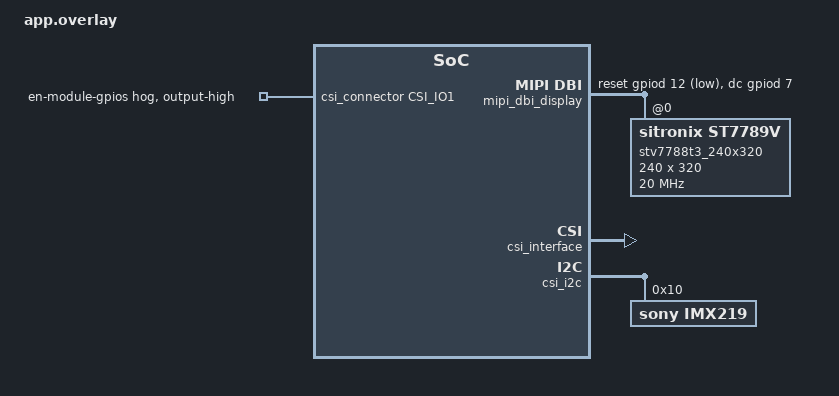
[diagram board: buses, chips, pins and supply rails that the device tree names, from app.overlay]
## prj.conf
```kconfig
CONFIG_VIDEO=y
CONFIG_SHELL=y
CONFIG_PRINTK=y
CONFIG_LOG=y
CONFIG_DISPLAY=y
CONFIG_REQUIRES_FLOAT_PRINTF=y
CONFIG_LOG_MODE_DEFERRED=y

# RAM stuff for the n6
CONFIG_VIDEO_BUFFER_POOL_NUM_MAX=1
CONFIG_VIDEO_BUFFER_POOL_HEAP_SIZE=40000
CONFIG_VIDEO_FRAME_WIDTH=120
CONFIG_VIDEO_FRAME_HEIGHT=160
CONFIG_VIDEO_PIXEL_FORMAT="RGBP"
CONFIG_MAIN_STACK_SIZE=2048
CONFIG_VIDEO_STM32_DCMIPP_SENSOR_PIXEL_FORMAT="pBAA"
CONFIG_VIDEO_STM32_DCMIPP_SENSOR_WIDTH=3280
CONFIG_VIDEO_STM32_DCMIPP_SENSOR_HEIGHT=2464
CONFIG_VIDEO_LOG_LEVEL_WRN=y
```

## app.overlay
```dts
/*
 * Copyright (c) 2025 tinyVision.ai Inc.
 *
 * SPDX-License-Identifier: Apache-2.0
 */


#include <zephyr/dt-bindings/gpio/raspberrypi-csi-connector.h>
#include <zephyr/dt-bindings/video/video-interfaces.h>
#include <zephyr/dt-bindings/mipi_dbi/mipi_dbi.h>


/ {
	chosen {
		zephyr,camera = &pipe_main;
		zephyr,display = &stv7788t3_240x320;

	};

	mipi_dbi_display {
		compatible = "zephyr,mipi-dbi-spi";
		spi-dev = <&spi5>;
		dc-gpios = <&gpiod 7 GPIO_ACTIVE_HIGH>;
		reset-gpios = <&gpiod 12 GPIO_ACTIVE_LOW>;
		write-only;
		#address-cells = <1>;
		#size-cells = <0>;

		stv7788t3_240x320: st7789t3@0 {
			compatible = "sitronix,st7789v";
			mipi-max-frequency = <20000000>;
			reg = <0>;
			width = <240>;
			height = <320>;
			x-offset = <0>;
			y-offset = <0>;
			vcom = <0x19>;
			gctrl = <0x35>;
			vrhs = <0x12>;
			vdvs = <0x20>;
			mdac = <0x00>;
			gamma = <0x01>;
			colmod = <0x05>;
			lcm = <0x2c>;
			porch-param = [0c 0c 00 33 33];
			cmd2en-param = [5a 69 02 01];
			pwctrl1-param = [a4 a1];
			pvgam-param = [D0 04 0D 11 13 2B 3F 54 4C 18 0D 0B 1F 23];
			nvgam-param = [D0 04 0C 11 13 2C 3F 44 51 2F 1F 1F 20 23];
			ram-param = [00 F0];
			rgb-param = [CD 08 14];
			mipi-mode = "MIPI_DBI_MODE_SPI_4WIRE";
		};
	};


	imx219_input_clock: imx219-input-clock {
		compatible = "fixed-clock";
		clock-frequency = <24000000>;
		#clock-cells = <0>;
	};
};



&csi_interface {
	status = "okay";
};

&csi_ep_in {
	remote-endpoint-label = "imx219_ep_out";
	bus-type = <VIDEO_BUS_TYPE_CSI2_DPHY>;
	data-lanes = <1 2>;
};


&csi_i2c {
	imx219: camera@10 {
		compatible = "sony,imx219";
		clocks =  <&imx219_input_clock>;
		reg = <0x10>;


		port {
			imx219_ep_out: endpoint {
				remote-endpoint-label = "csi_ep_in";
				bus-type = <VIDEO_BUS_TYPE_CSI2_DPHY>;
				data-lanes = <1 2>;
			};
		};
	};
};

&csi_connector {
	/*Power on Camera*/
	en-module-gpios  {
		gpio-hog;
		gpios = <CSI_IO1 GPIO_ACTIVE_HIGH>;
		output-high;
	};
};
```

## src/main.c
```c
/*
 * Copyright (c) 2019 Linaro Limited
 * Copyright 2025 NXP
 *
 * SPDX-License-Identifier: Apache-2.0
 */

#include <zephyr/kernel.h>
#include <zephyr/device.h>

#include <zephyr/drivers/display.h>
#include <zephyr/drivers/video.h>
#include <zephyr/drivers/video-controls.h>

#include <zephyr/logging/log.h>
LOG_MODULE_REGISTER(main, CONFIG_LOG_DEFAULT_LEVEL);

#if !DT_HAS_CHOSEN(zephyr_camera)
#error No camera chosen in devicetree. Missing "--shield" or "--snippet video-sw-generator" flag?
#endif

static inline int app_setup_display(const struct device *const display_dev, const uint32_t pixfmt)
{
	struct display_capabilities capabilities;
	int ret = 0;

	LOG_INF("Display device: %s", display_dev->name);

	if (!device_is_ready(display_dev)) {
		LOG_ERR("%s: display device not ready.", display_dev->name);
		return -ENOSYS;
	}

	display_get_capabilities(display_dev, &capabilities);

	LOG_INF("- Capabilities:");
	LOG_INF("  x_resolution = %u, y_resolution = %u, supported_pixel_formats = %u"
		"  current_pixel_format = %u, current_orientation = %u",
		capabilities.x_resolution, capabilities.y_resolution,
		capabilities.supported_pixel_formats, capabilities.current_pixel_format,
		capabilities.current_orientation);

	/* Set display pixel format to match the one in use by the camera */
	switch (pixfmt) {
	case VIDEO_PIX_FMT_RGB565:
		if (capabilities.current_pixel_format != PIXEL_FORMAT_RGB_565) {
			ret = display_set_pixel_format(display_dev, PIXEL_FORMAT_RGB_565);
		}
		break;
	case VIDEO_PIX_FMT_XRGB32:
		if (capabilities.current_pixel_format != PIXEL_FORMAT_ARGB_8888) {
			ret = display_set_pixel_format(display_dev, PIXEL_FORMAT_ARGB_8888);
		}
		break;
	default:
		LOG_ERR("Display pixel format not supported by this sample");
		return -ENOTSUP;
	}
	if (ret < 0) {
		LOG_ERR("Unable to set display format");
		return ret;
	}

	/* Turn off blanking if driver supports it */
	ret = display_blanking_off(display_dev);
	if (ret == -ENOSYS) {
		LOG_DBG("Display blanking off not available");
		ret = 0;
	}

	return ret;
}

static int app_display_frame(const struct device *const display_dev,
			     const struct video_buffer *const vbuf,
			     const struct video_format *const fmt)
{
	struct display_buffer_descriptor buf_desc = {
		.buf_size = vbuf->bytesused,
		.width = fmt->width,
		.pitch = buf_desc.width,
		.height = vbuf->bytesused / fmt->pitch,
	};

	return display_write(display_dev, 0, vbuf->line_offset, &buf_desc, vbuf->buffer);
}

static int app_setup_video_selection(const struct device *const video_dev,
				     const struct video_format *const fmt)
{
	struct video_selection sel = {
		.type = VIDEO_BUF_TYPE_OUTPUT,
	};
	int ret;

	/* Set the crop setting only if configured */
	if (CONFIG_VIDEO_SOURCE_CROP_WIDTH > 0) {
		sel.target = VIDEO_SEL_TGT_CROP;
		sel.rect.left = CONFIG_VIDEO_SOURCE_CROP_LEFT;
		sel.rect.top = CONFIG_VIDEO_SOURCE_CROP_TOP;
		sel.rect.width = CONFIG_VIDEO_SOURCE_CROP_WIDTH;
		sel.rect.height = CONFIG_VIDEO_SOURCE_CROP_HEIGHT;

		ret = video_set_selection(video_dev, &sel);
		if (ret < 0) {
			LOG_ERR("Unable to set selection crop");
			return ret;
		}

		LOG_INF("Crop window set to (%u,%u)/%ux%u",
			sel.rect.left, sel.rect.top, sel.rect.width, sel.rect.height);
	}

	/*
	 * Check (if possible) if targeted size is same as crop
	 * and if compose is necessary
	 */
	sel.target = VIDEO_SEL_TGT_CROP;
	ret = video_get_selection(video_dev, &sel);
	if (ret < 0 && ret != -ENOSYS) {
		LOG_ERR("Unable to get selection crop");
		return ret;
	}

	if (ret == 0 && (sel.rect.width != fmt->width || sel.rect.height != fmt->height)) {
		sel.target = VIDEO_SEL_TGT_COMPOSE;
		sel.rect.left = 0;
		sel.rect.top = 0;
		sel.rect.width = fmt->width;
		sel.rect.height = fmt->height;

		ret = video_set_selection(video_dev, &sel);
		if (ret < 0 && ret != -ENOSYS) {
			LOG_ERR("Unable to set selection compose");
			return ret;
		}

		LOG_INF("Compose window set to (%u,%u)/%ux%u",
			sel.rect.left, sel.rect.top, sel.rect.width, sel.rect.height);
	}

	return 0;
}

static int app_query_video_info(const struct device *const video_dev,
				struct video_caps *const caps,
				struct video_format *const fmt)
{
	int ret;

	LOG_INF("Video device: %s", video_dev->name);

	if (!device_is_ready(video_dev)) {
		LOG_ERR("%s: video device is not ready", video_dev->name);
		return -ENOSYS;
	}

	/* Get capabilities */
	ret = video_get_caps(video_dev, caps);
	if (ret < 0) {
		LOG_ERR("Unable to retrieve video capabilities");
		return ret;
	}

	/*LOG_INF("- Capabilities:");
	for (int i = 0; caps->format_caps[i].pixelformat; i++) {
		const struct video_format_cap *fcap = &caps->format_caps[i];

		LOG_INF("  %s width [%u; %u; %u] height [%u; %u; %u]",
			VIDEO_FOURCC_TO_STR(fcap->pixelformat),
			fcap->width_min, fcap->width_max, fcap->width_step,
			fcap->height_min, fcap->height_max, fcap->height_step);
	}
	*/

	/* Get default/native format */
	ret = video_get_format(video_dev, fmt);
	if (ret < 0) {
		LOG_ERR("Unable to retrieve video format");
	}

	/* Adjust video format according to the configuration */
	if (CONFIG_VIDEO_FRAME_HEIGHT > 0) {
		fmt->height = CONFIG_VIDEO_FRAME_HEIGHT;
	}
	if (CONFIG_VIDEO_FRAME_WIDTH > 0) {
		fmt->width = CONFIG_VIDEO_FRAME_WIDTH;
	}
	if (strcmp(CONFIG_VIDEO_PIXEL_FORMAT, "") != 0) {
		fmt->pixelformat = VIDEO_FOURCC_FROM_STR(CONFIG_VIDEO_PIXEL_FORMAT);
	}

	return 0;
}

static int app_setup_video_format(const struct device *const video_dev,
				  struct video_format *const fmt)
{
	int ret;

	LOG_INF("- Video format: %s %ux%u",
		VIDEO_FOURCC_TO_STR(fmt->pixelformat), fmt->width, fmt->height);

	ret = video_set_compose_format(video_dev, fmt);
	if (ret < 0) {
		LOG_ERR("Unable to set format");
		return ret;
	}

	return 0;
}

static int app_setup_video_frmival(const struct device *const video_dev,
				   struct video_format *const fmt)
{
	struct video_frmival frmival = {};
	struct video_frmival_enum fie = {
		.format = fmt,
	};
	int ret;

	LOG_INF("- Supported frame intervals for the default format:");

	while (video_enum_frmival(video_dev, &fie) == 0) {
		if (fie.type == VIDEO_FRMIVAL_TYPE_DISCRETE) {
			LOG_INF("   %u/%u", fie.discrete.numerator, fie.discrete.denominator);
		} else {
			LOG_INF("   [min = %u/%u; max = %u/%u; step = %u/%u]",
				fie.stepwise.min.numerator, fie.stepwise.min.denominator,
				fie.stepwise.max.numerator, fie.stepwise.max.denominator,
				fie.stepwise.step.numerator, fie.stepwise.step.denominator);
		}
		fie.index++;
	}

	ret = video_get_frmival(video_dev, &frmival);
	if (ret == -ENOTSUP || ret == -ENOSYS) {
		LOG_WRN("The video source does not support frame rate control");
	} else if (ret < 0) {
		LOG_ERR("Error while getting the frame interval");
		return ret;
	} else if (ret == 0) {
		LOG_INF("- Default frame rate : %f fps",
			1.0 * frmival.denominator / frmival.numerator);
	}

	return 0;
}

static int app_setup_video_controls(const struct device *const video_dev)
{
	int ret;

	/* Get supported controls */
	LOG_INF("- Supported controls:");
	const struct device *last_dev = NULL;
	struct video_ctrl_query cq = {.dev = video_dev, .id = VIDEO_CTRL_FLAG_NEXT_CTRL};

	while (video_query_ctrl(&cq) == 0) {
		if (cq.dev != last_dev) {
			last_dev = cq.dev;
			LOG_INF("\t\tdevice: %s", cq.dev->name);
		}
		video_print_ctrl(&cq);
		cq.id |= VIDEO_CTRL_FLAG_NEXT_CTRL;
	}

	/* Set controls */
	struct video_control ctrl = {.id = VIDEO_CID_HFLIP, .val = 1};

	if (IS_ENABLED(CONFIG_VIDEO_CTRL_HFLIP)) {
		ret = video_set_ctrl(video_dev, &ctrl);
		if (ret < 0) {
			LOG_ERR("Failed to set horizontal flip");
			return ret;
		}
	}

	if (IS_ENABLED(CONFIG_VIDEO_CTRL_VFLIP)) {
		ctrl.id = VIDEO_CID_VFLIP;
		ret = video_set_ctrl(video_dev, &ctrl);
		if (ret < 0) {
			LOG_ERR("Failed to set vertical flip");
			return ret;
		}
	}

	if (IS_ENABLED(CONFIG_TEST)) {
		ctrl.id = VIDEO_CID_TEST_PATTERN;
		ret = video_set_ctrl(video_dev, &ctrl);
		if (ret < 0 && ret != -ENOTSUP) {
			LOG_WRN("Failed to set the test pattern");
		}
	}

	return 0;
}

static int app_setup_video_buffers(const struct device *const video_dev,
				   struct video_caps *const caps,
				   struct video_format *const fmt)
{
	int ret;

	/* Alloc video buffers and enqueue for capture */
	if (caps->min_vbuf_count > CONFIG_VIDEO_BUFFER_POOL_NUM_MAX) {
		LOG_ERR("Not enough buffers to start streaming");
		return -EINVAL;
	}

	for (int i = 0; i < CONFIG_VIDEO_BUFFER_POOL_NUM_MAX; i++) {
		struct video_buffer *vbuf;

		/*
		 * For some hardwares, such as the PxP used on i.MX RT1170 to do image rotation,
		 * buffer alignment is needed in order to achieve the best performance
		 */
		vbuf = video_buffer_aligned_alloc(fmt->size, CONFIG_VIDEO_BUFFER_POOL_ALIGN,
						  K_NO_WAIT);
		if (vbuf == NULL) {
			LOG_ERR("Unable to alloc video buffer");
			return -ENOMEM;
		}

		vbuf->type = VIDEO_BUF_TYPE_OUTPUT;

		ret = video_enqueue(video_dev, vbuf);
		if (ret < 0) {
			LOG_ERR("Failed to enqueue video buffer");
			return ret;
		}
	}

	return 0;
}

int main(void)
{
	int frame_no = 0;
	const struct device *const video_dev = DEVICE_DT_GET(DT_CHOSEN(zephyr_camera));
	const struct device *const display_dev = DEVICE_DT_GET_OR_NULL(DT_CHOSEN(zephyr_display));
	struct video_buffer *vbuf = &(struct video_buffer){};
	struct video_format fmt = {
		.type = VIDEO_BUF_TYPE_OUTPUT,
	};
	struct video_caps caps = {
		.type = VIDEO_BUF_TYPE_OUTPUT,
	};
	unsigned int frame = 0;
	int ret;

	/* When the video shell is enabled, do not run the capture loop */
	if (IS_ENABLED(CONFIG_VIDEO_SHELL)) {
		LOG_INF("Letting the user control the device with the video shell");
		return 0;
	}

	ret = app_query_video_info(video_dev, &caps, &fmt);
	if (ret < 0) {
		goto err;
	}

	ret = app_setup_video_selection(video_dev, &fmt);
	if (ret < 0) {
		goto err;
	}

	ret = app_setup_video_format(video_dev, &fmt);
	if (ret < 0) {
		goto err;
	}

	ret = app_setup_video_frmival(video_dev, &fmt);
	if (ret < 0) {
		goto err;
	}

	ret = app_setup_video_controls(video_dev);
	if (ret < 0) {
		goto err;
	}

	if (DT_HAS_CHOSEN(zephyr_display)) {
		ret = app_setup_display(display_dev, fmt.pixelformat);
		if (ret < 0) {
			goto err;
		}
	}

	ret = app_setup_video_buffers(video_dev, &caps, &fmt);
	if (ret < 0) {
		goto err;
	}

	ret = video_stream_start(video_dev, VIDEO_BUF_TYPE_OUTPUT);
	if (ret < 0) {
		LOG_ERR("Unable to start capture (interface)");
		goto err;
	}

	LOG_INF("Capture started");

	vbuf->type = VIDEO_BUF_TYPE_OUTPUT;
	while (frame_no < 1) {
		ret = video_dequeue(video_dev, &vbuf, K_FOREVER);
		if (ret < 0) {
			LOG_ERR("Unable to dequeue video buf");
			goto err;
		}

		LOG_INF("Got frame %u! size: %u; timestamp %u ms",
			frame++, vbuf->bytesused, vbuf->timestamp);

		LOG_INF("buffer: %p , size: %d , bytesused: %d", vbuf->buffer,
				vbuf->bytesused, vbuf->size);


		if (DT_HAS_CHOSEN(zephyr_display)) {
			ret = app_display_frame(display_dev, vbuf, &fmt);
			if (ret != 0) {
				LOG_WRN("Failed to display this frame");
			}
		}

		ret = video_enqueue(video_dev, vbuf);
		if (ret < 0) {
			LOG_ERR("Unable to requeue video buf");
			goto err;
		}

		frame_no++;
	}

err:
	LOG_ERR("Aborting sample");
	return 0;
}
```
